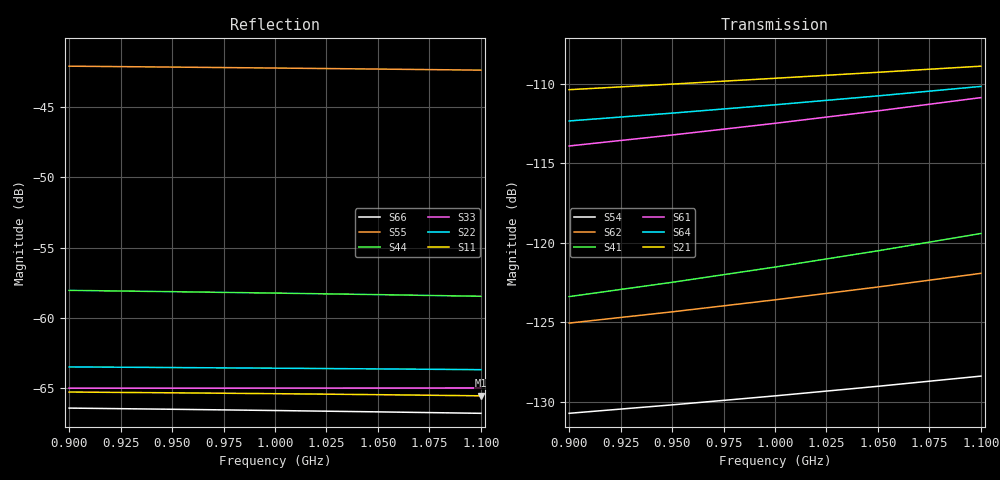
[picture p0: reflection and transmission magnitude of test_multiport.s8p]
! Touchstone file from project test_multiport
! Exported from HFSS 2019.2.0
!Data is not renormalized
# GHZ S MA
! Modal data exported
! Port[1] = 1:1
! Port[2] = 2:1
! Port[3] = 3:1
! Port[4] = 4:1
! Port[5] = 5:1
! Port[6] = 6:1
! Port[7] = 7:1
! Port[8] = 8:1
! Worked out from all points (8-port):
!   5 points, 900 MHz to 1.1 GHz, reference per port
!   strongest paths, dB at 900 MHz, 950 MHz, 1 GHz, 1.05 GHz, 1.1 GHz:
!     S21: -110.4, -110.0, -109.7, -109.3, -108.9
!     S64: -112.3, -111.9, -111.3, -110.8, -110.2
!     S61: -113.9, -113.2, -112.5, -111.7, -110.9
!     S41: -123.4, -122.5, -121.5, -120.5, -119.4
!     S62: -125.1, -124.4, -123.6, -122.8, -121.9
!     S54: -130.7, -130.2, -129.6, -129.0, -128.4
!   lowest |S11| = -65.6 dB at 1.1 GHz (marker M1), VSWR 1.00
!   |S11| at or under -10 dB: start of sweep to end of sweep
